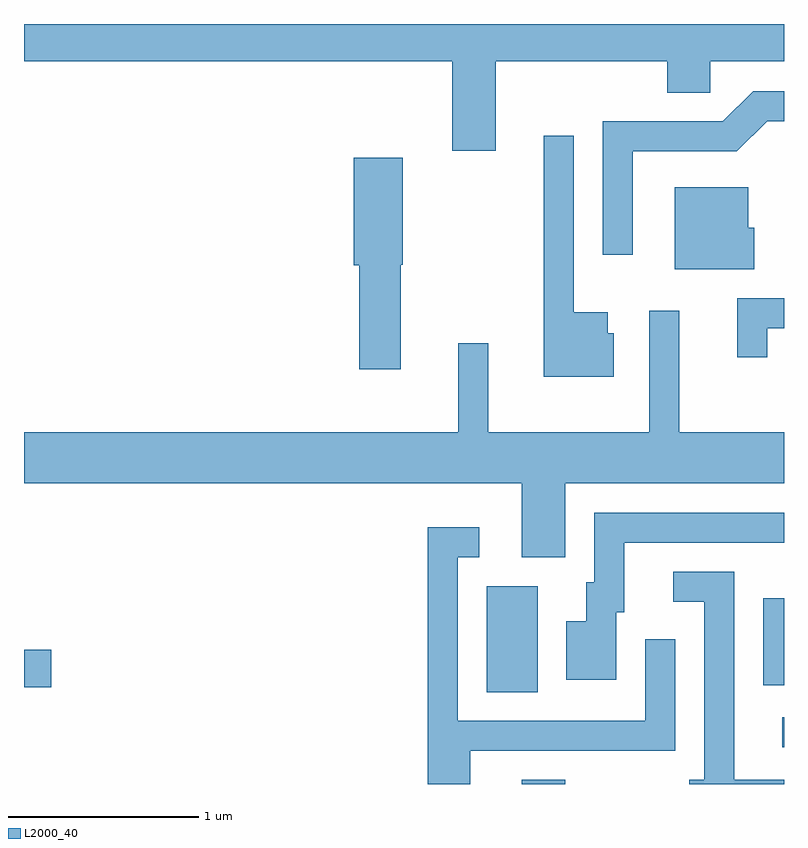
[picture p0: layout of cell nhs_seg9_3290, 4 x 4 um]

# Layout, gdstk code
import gdstk
lib = gdstk.Library(unit=1e-6, precision=1e-09)
def R(c, l, rs):  # rectangles x0, y0, x1, y1
    for r in rs: c.add(gdstk.rectangle(r[:2], r[2:], *l))
def P(c, l, *ps):  # polygons
    for p in ps: c.add(gdstk.Polygon(p, *l))
L2000_40 = (2000, 40)

nhs_seg9_3290 = lib.new_cell('nhs_seg9_3290')
R(nhs_seg9_3290, L2000_40, [(284.231,2012.432,284.459,2012.454), (285.603,2012.626,285.611,2012.784), (284.046,2012.916,284.314,2013.474), (281.611,2012.941,281.754,2013.139), (285.501,2012.951,285.611,2013.409)])
P(nhs_seg9_3290, L2000_40, [(284.094,2016.236),(284.996,2016.236),(284.996,2016.071),(285.224,2016.071),(285.224,2016.236),(285.611,2016.236),(285.611,2016.432),(281.611,2016.432),(281.611,2016.236),(283.866,2016.236),(283.866,2015.766),(284.094,2015.766)],
  [(284.814,2015.761),(285.362,2015.761),(285.522,2015.921),(285.611,2015.921),(285.611,2016.079),(285.449,2016.079),(285.289,2015.919),(284.656,2015.919),(284.656,2015.218),(284.814,2015.218)],
  [(284.714,2014.804),(284.684,2014.804),(284.684,2014.914),(284.504,2014.914),(284.504,2015.843),(284.346,2015.843),(284.346,2014.576),(284.714,2014.576)],
  [(283.594,2015.165),(283.604,2015.165),(283.604,2015.729),(283.346,2015.729),(283.346,2015.161),(283.376,2015.161),(283.376,2014.616),(283.594,2014.616)],
  [(285.454,2015.359),(285.424,2015.359),(285.424,2015.574),(285.036,2015.574),(285.036,2015.141),(285.454,2015.141)],
  [(285.524,2014.831),(285.611,2014.831),(285.611,2014.989),(285.366,2014.989),(285.366,2014.678),(285.524,2014.678)],
  [(283.896,2014.753),(283.896,2014.284),(281.611,2014.284),(281.611,2014.016),(284.231,2014.016),(284.231,2013.626),(284.459,2013.626),(284.459,2014.016),(285.611,2014.016),(285.611,2014.284),(285.059,2014.284),(285.059,2014.923),(284.901,2014.923),(284.901,2014.284),(284.054,2014.284),(284.054,2014.753)],
  [(284.729,2013.336),(284.769,2013.336),(284.769,2013.701),(285.611,2013.701),(285.611,2013.859),(284.611,2013.859),(284.611,2013.494),(284.571,2013.494),(284.571,2013.289),(284.466,2013.289),(284.466,2012.981),(284.729,2012.981)],
  [(283.959,2012.606),(285.039,2012.606),(285.039,2013.193),(284.881,2013.193),(284.881,2012.764),(283.894,2012.764),(283.894,2013.626),(284.008,2013.626),(284.008,2013.784),(283.736,2013.784),(283.736,2012.432),(283.959,2012.432)],
  [(285.611,2012.454),(285.349,2012.454),(285.349,2013.549),(285.028,2013.549),(285.028,2013.391),(285.191,2013.391),(285.191,2012.454),(285.113,2012.454),(285.113,2012.432),(285.611,2012.432)])

lib.write_gds('nhs_seg9_3290.gds')
